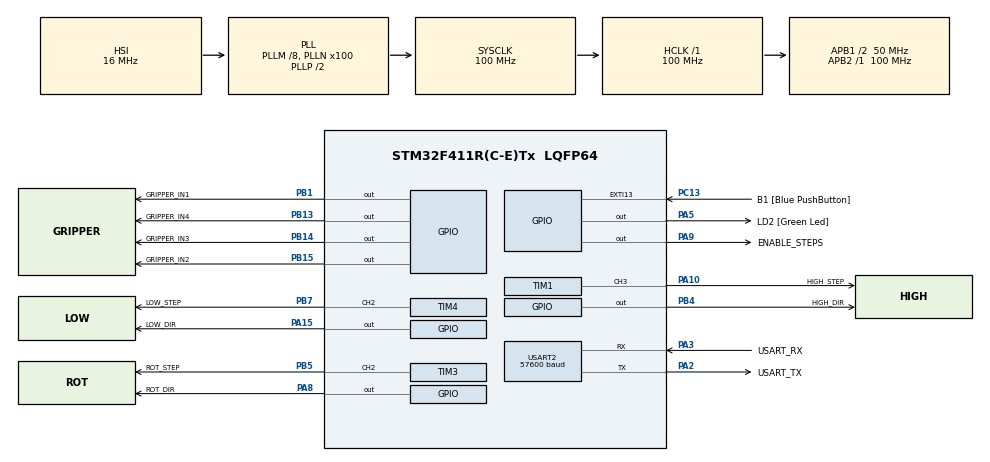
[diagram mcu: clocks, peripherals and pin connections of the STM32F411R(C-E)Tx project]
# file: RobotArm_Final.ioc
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Mcu.Family=STM32F4
Mcu.Name=STM32F411R(C-E)Tx
Mcu.Package=LQFP64
NVIC.EXTI15_10_IRQn=true\:0\:0\:false\:false\:true\:true\:true
NVIC.FLASH_IRQn=true\:0\:0\:false\:false\:true\:true\:true
NVIC.FPU_IRQn=true\:0\:0\:false\:false\:true\:true\:false
NVIC.PriorityGroup=NVIC_PRIORITYGROUP_0
NVIC.RCC_IRQn=true\:0\:0\:false\:false\:true\:true\:false
NVIC.TIM1_BRK_TIM9_IRQn=true\:0\:0\:false\:false\:true\:true\:true
NVIC.TIM1_CC_IRQn=true\:0\:0\:false\:false\:true\:true\:true
NVIC.TIM1_TRG_COM_TIM11_IRQn=true\:0\:0\:false\:false\:true\:true\:true
NVIC.TIM1_UP_TIM10_IRQn=true\:0\:0\:false\:false\:true\:true\:true
NVIC.TIM3_IRQn=true\:0\:0\:false\:false\:true\:true\:true
NVIC.TIM4_IRQn=true\:0\:0\:false\:false\:true\:true\:true
NVIC.USART2_IRQn=true\:0\:0\:false\:false\:true\:true\:true
PA10.GPIO_Label=HIGH_STEP
PA10.Signal=S_TIM1_CH3
PA13.GPIO_Label=TMS
PA13.Mode=Serial_Wire
PA13.Signal=SYS_JTMS-SWDIO
PA14.GPIO_Label=TCK
PA14.Mode=Serial_Wire
PA14.Signal=SYS_JTCK-SWCLK
PA15.GPIO_Label=LOW_DIR
PA15.Signal=GPIO_Output
PA2.GPIO_Label=USART_TX
PA2.Mode=Asynchronous
PA2.Signal=USART2_TX
PA3.GPIO_Label=USART_RX
PA3.Mode=Asynchronous
PA3.Signal=USART2_RX
PA5.GPIO_Label=LD2 [Green Led]
PA5.Signal=GPIO_Output
PA8.GPIO_Label=ROT_DIR
PA8.Signal=GPIO_Output
PA9.GPIO_Label=ENABLE_STEPS
PA9.PinState=GPIO_PIN_SET
PA9.Signal=GPIO_Output
PB1.GPIO_Label=GRIPPER_IN1
PB1.Signal=GPIO_Output
PB13.GPIO_Label=GRIPPER_IN4
PB13.Signal=GPIO_Output
PB14.GPIO_Label=GRIPPER_IN3
PB14.Signal=GPIO_Output
PB15.GPIO_Label=GRIPPER_IN2
PB15.Signal=GPIO_Output
PB3.GPIO_Label=SWO
PB3.Signal=SYS_JTDO-SWO
PB4.GPIO_Label=HIGH_DIR
PB4.Signal=GPIO_Output
PB5.GPIO_Label=ROT_STEP
PB5.Signal=S_TIM3_CH2
PB7.GPIO_Label=LOW_STEP
PB7.Signal=S_TIM4_CH2
PC13-ANTI_TAMP.GPIO_Label=B1 [Blue PushButton]
PC13-ANTI_TAMP.GPIO_ModeDefaultEXTI=GPIO_MODE_IT_FALLING
PC13-ANTI_TAMP.Signal=GPXTI13
PC14-OSC32_IN.Mode=LSE-External-Oscillator
PC14-OSC32_IN.Signal=RCC_OSC32_IN
PC15-OSC32_OUT.Mode=LSE-External-Oscillator
PC15-OSC32_OUT.Signal=RCC_OSC32_OUT
PH0\ -\ OSC_IN.Mode=HSE-External-Clock-Source
PH0\ -\ OSC_IN.Signal=RCC_OSC_IN
PH1\ -\ OSC_OUT.Mode=HSE-External-Clock-Source
PH1\ -\ OSC_OUT.Signal=RCC_OSC_OUT
ProjectManager.HeapSize=0x200
ProjectManager.StackSize=0x400
ProjectManager.TargetToolchain=STM32CubeIDE
RCC.48MHZClocksFreq_Value=50000000
RCC.AHBFreq_Value=100000000
RCC.APB1CLKDivider=RCC_HCLK_DIV2
RCC.APB1Freq_Value=50000000
RCC.APB1TimFreq_Value=100000000
RCC.APB2Freq_Value=100000000
RCC.APB2TimFreq_Value=100000000
RCC.CortexFreq_Value=100000000
RCC.FLatency-AdvancedSettings=FLASH_LATENCY_3
RCC.HCLKFreq_Value=100000000
RCC.HSE_VALUE=8000000
RCC.HSI_VALUE=16000000
RCC.PLLM=8
RCC.PLLN=100
RCC.SYSCLKFreq_VALUE=100000000
RCC.SYSCLKSource=RCC_SYSCLKSOURCE_PLLCLK
RCC.VCOOutputFreq_Value=200000000
SH.S_TIM1_CH3.0=TIM1_CH3,PWM Generation3 CH3
SH.S_TIM3_CH2.0=TIM3_CH2,PWM Generation2 CH2
SH.S_TIM4_CH2.0=TIM4_CH2,PWM Generation2 CH2
TIM1.Channel-PWM\ Generation3\ CH3=TIM_CHANNEL_3
TIM1.Period=100-1
TIM1.Prescaler=100-1
TIM1.Pulse-PWM\ Generation3\ CH3=100/2-1
TIM10.AutoReloadPreload=TIM_AUTORELOAD_PRELOAD_DISABLE
TIM10.Period=200-1
TIM10.Prescaler=1000-1
TIM3.Channel-PWM\ Generation2\ CH2=TIM_CHANNEL_2
TIM3.Period=100-1
TIM3.Prescaler=100-1
TIM3.Pulse-PWM\ Generation2\ CH2=100/2-1
TIM4.Channel-PWM\ Generation2\ CH2=TIM_CHANNEL_2
TIM4.Period=100-1
TIM4.Prescaler=100-1
TIM4.Pulse-PWM\ Generation2\ CH2=100/2-1
USART2.BaudRate=57600
USART2.StopBits=STOPBITS_1
USART2.VirtualMode=VM_ASYNC
VP_TIM10_VS_ClockSourceINT.Mode=Enable_Timer
VP_TIM1_VS_ClockSourceINT.Mode=Internal
VP_TIM3_VS_ClockSourceINT.Mode=Internal
VP_TIM4_VS_ClockSourceINT.Mode=Internal
board=NUCLEO-F411RE

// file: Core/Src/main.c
/* USER CODE BEGIN Header */
/**
  ******************************************************************************
  * @file           : main.c
  * @brief          : Main program body
  ******************************************************************************
  * @attention
  *
  * <h2><center>&copy; Copyright (c) 2021 STMicroelectronics.
  * All rights reserved.</center></h2>
  *
  * This software component is licensed by ST under BSD 3-Clause license,
  * the "License"; You may not use this file except in compliance with the
  * License. You may obtain a copy of the License at:
  *                        opensource.org/licenses/BSD-3-Clause
  *
  ******************************************************************************
  */
/* USER CODE END Header */
#include "main.h"
#include "tim.h"
#include "usart.h"
#include "gpio.h"

/* USER CODE BEGIN Includes */
#include "robotArm.h"
#include "string.h"
#include "stdio.h"
/* USER CODE END Includes */

/* USER CODE BEGIN PD */

#define HIGH_STEP_HTIM htim1
#define LOW_STEP_HTIM htim4
#define ROT_STEP_HTIM htim3
#define GRIPPER_HTIM htim10
#define HIGH_STEP_TIM_CHANNEL TIM_CHANNEL_3
#define LOW_STEP_TIM_CHANNEL TIM_CHANNEL_2
#define ROT_STEP_TIM_CHANNEL TIM_CHANNEL_2

/* USER CODE END PD */

/* USER CODE BEGIN PV */
struct robotArm_s robotArm;
uint8_t ReceiveBuffer[20];
uint8_t RxEventFlag=0;

/* USER CODE END PV */

void SystemClock_Config(void);
/* USER CODE BEGIN PFP */
void Command_OK(void);
void Command_Error(void);
void Command_ClearBuffer(void);
void Command_InitRobot(void);
void Command_Control_Program(void);
void RobotArm_UART_loop(void);
void RobotArm_Control_Program(void);
/* USER CODE END PFP */

int main(void)
{

  /* MCU Configuration--------------------------------------------------------*/

  /* Reset of all peripherals, Initializes the Flash interface and the Systick. */
  HAL_Init();

  /* Configure the system clock */
  SystemClock_Config();

  /* Initialize all configured peripherals */
  MX_GPIO_Init();
  MX_USART2_UART_Init();
  MX_TIM1_Init();
  MX_TIM3_Init();
  MX_TIM4_Init();
  MX_TIM10_Init();
  /* USER CODE BEGIN 2 */
  Command_InitRobot();
  /* USER CODE END 2 */

  /* Infinite loop */
  while (1)
  {

    /* USER CODE BEGIN 3 */
	 RobotArm_UART_loop();

  }
  /* USER CODE END 3 */
}

void SystemClock_Config(void)
{
  RCC_OscInitTypeDef RCC_OscInitStruct = {0};
  RCC_ClkInitTypeDef RCC_ClkInitStruct = {0};

  /** Configure the main internal regulator output voltage
  */
  __HAL_RCC_PWR_CLK_ENABLE();
  __HAL_PWR_VOLTAGESCALING_CONFIG(PWR_REGULATOR_VOLTAGE_SCALE1);
  /** Initializes the RCC Oscillators according to the specified parameters
  * in the RCC_OscInitTypeDef structure.
  */
  RCC_OscInitStruct.OscillatorType = RCC_OSCILLATORTYPE_HSI;
  RCC_OscInitStruct.HSIState = RCC_HSI_ON;
  RCC_OscInitStruct.HSICalibrationValue = RCC_HSICALIBRATION_DEFAULT;
  RCC_OscInitStruct.PLL.PLLState = RCC_PLL_ON;
  RCC_OscInitStruct.PLL.PLLSource = RCC_PLLSOURCE_HSI;
  RCC_OscInitStruct.PLL.PLLM = 8;
  RCC_OscInitStruct.PLL.PLLN = 100;
  RCC_OscInitStruct.PLL.PLLP = RCC_PLLP_DIV2;
  RCC_OscInitStruct.PLL.PLLQ = 4;
  if (HAL_RCC_OscConfig(&RCC_OscInitStruct) != HAL_OK)
  {
    Error_Handler();
  }
  /** Initializes the CPU, AHB and APB buses clocks
  */
  RCC_ClkInitStruct.ClockType = RCC_CLOCKTYPE_HCLK|RCC_CLOCKTYPE_SYSCLK
                              |RCC_CLOCKTYPE_PCLK1|RCC_CLOCKTYPE_PCLK2;
  RCC_ClkInitStruct.SYSCLKSource = RCC_SYSCLKSOURCE_PLLCLK;
  RCC_ClkInitStruct.AHBCLKDivider = RCC_SYSCLK_DIV1;
  RCC_ClkInitStruct.APB1CLKDivider = RCC_HCLK_DIV2;
  RCC_ClkInitStruct.APB2CLKDivider = RCC_HCLK_DIV1;

  if (HAL_RCC_ClockConfig(&RCC_ClkInitStruct, FLASH_LATENCY_3) != HAL_OK)
  {
    Error_Handler();
  }
}

/* USER CODE BEGIN 4 */

/*
 * Obsługa przerwania od licznika taktującego silnik chwytaka
 * Zmienia takty na zasadzie maszyny stanów
 * Inkrementuje licznik kroków
 * Jeżeli licznik kroków obliczy wszystkie kroki do wykonania, to wyłączy chwytak
 */
void HAL_TIM_PeriodElapsedCallback(TIM_HandleTypeDef *htim){
	if(htim->Instance==robotArm.gripper_Stepper.timer.htim->Instance){
		//Full step drive gripper
		switch (robotArm.gripper_Stepper.tick) {
			case 0:
				HAL_GPIO_WritePin(GRIPPER_IN1_GPIO_Port, GRIPPER_IN1_Pin, SET);
				HAL_GPIO_WritePin(GRIPPER_IN2_GPIO_Port, GRIPPER_IN2_Pin, SET);
				HAL_GPIO_WritePin(GRIPPER_IN3_GPIO_Port, GRIPPER_IN3_Pin, RESET);
				HAL_GPIO_WritePin(GRIPPER_IN4_GPIO_Port, GRIPPER_IN4_Pin, RESET);

				robotArm.gripper_Stepper.step_counter++;
				if(robotArm.gripper_Stepper.step_counter >= robotArm.gripper_Stepper.steps_to_count)
				{
					gripper_stop(&robotArm.gripper_Stepper);
				}

				if(robotArm.gripper_Stepper.state==open)robotArm.gripper_Stepper.tick++;
				else robotArm.gripper_Stepper.tick=3;
				break;
			case 1:
				HAL_GPIO_WritePin(GRIPPER_IN1_GPIO_Port, GRIPPER_IN1_Pin, RESET);
				HAL_GPIO_WritePin(GRIPPER_IN2_GPIO_Port, GRIPPER_IN2_Pin, SET);
				HAL_GPIO_WritePin(GRIPPER_IN3_GPIO_Port, GRIPPER_IN3_Pin, SET);
				HAL_GPIO_WritePin(GRIPPER_IN4_GPIO_Port, GRIPPER_IN4_Pin, RESET);

				robotArm.gripper_Stepper.step_counter++;
				if(robotArm.gripper_Stepper.step_counter >= robotArm.gripper_Stepper.steps_to_count)
				{
					gripper_stop(&robotArm.gripper_Stepper);
				}

				if(robotArm.gripper_Stepper.state==open)robotArm.gripper_Stepper.tick++;
				else robotArm.gripper_Stepper.tick--;
				break;
			case 2:
				HAL_GPIO_WritePin(GRIPPER_IN1_GPIO_Port, GRIPPER_IN1_Pin, RESET);
				HAL_GPIO_WritePin(GRIPPER_IN2_GPIO_Port, GRIPPER_IN2_Pin, RESET);
				HAL_GPIO_WritePin(GRIPPER_IN3_GPIO_Port, GRIPPER_IN3_Pin, SET);
				HAL_GPIO_WritePin(GRIPPER_IN4_GPIO_Port, GRIPPER_IN4_Pin, SET);

				robotArm.gripper_Stepper.step_counter++;
				if(robotArm.gripper_Stepper.step_counter >= robotArm.gripper_Stepper.steps_to_count)
				{
					gripper_stop(&robotArm.gripper_Stepper);
				}

				if(robotArm.gripper_Stepper.state==open)robotArm.gripper_Stepper.tick++;
				else robotArm.gripper_Stepper.tick--;
				break;
			case 3:
				HAL_GPIO_WritePin(GRIPPER_IN1_GPIO_Port, GRIPPER_IN1_Pin, SET);
				HAL_GPIO_WritePin(GRIPPER_IN2_GPIO_Port, GRIPPER_IN2_Pin, RESET);
				HAL_GPIO_WritePin(GRIPPER_IN3_GPIO_Port, GRIPPER_IN3_Pin, RESET);
				HAL_GPIO_WritePin(GRIPPER_IN4_GPIO_Port, GRIPPER_IN4_Pin, SET);

				robotArm.gripper_Stepper.step_counter++;
				if(robotArm.gripper_Stepper.step_counter >= robotArm.gripper_Stepper.steps_to_count)
				{
					gripper_stop(&robotArm.gripper_Stepper);
				}

				if(robotArm.gripper_Stepper.state==open)robotArm.gripper_Stepper.tick=0;
				else robotArm.gripper_Stepper.tick--;
				break;
		}
	}
}

/*
 * Obsługa przerwania od zakończenia impulsu PWM:
 * Sprawdza z którego timera doszło przerwanie
 * Inkrementuje licznik kroków
 * Jeżeli licznik kroków obliczy wszystkie kroki do wykonania, to wylaczy silnik
 *
 */
void HAL_TIM_PWM_PulseFinishedCallback(TIM_HandleTypeDef *htim)
{
	if(htim->Instance == robotArm.high_Stepper.timer.htim->Instance)
	{
		robotArm.high_Stepper.step_counter++;

		if(robotArm.high_Stepper.step_counter >= robotArm.high_Stepper.steps_to_count)
		{
			stepper_stop(&robotArm.high_Stepper);
		}
	}
	if(htim->Instance == robotArm.low_Stepper.timer.htim->Instance)
	{
		robotArm.low_Stepper.step_counter++;

		if(robotArm.low_Stepper.step_counter >= robotArm.low_Stepper.steps_to_count)
		{
			stepper_stop(&robotArm.low_Stepper);
		}
	}
	if(htim->Instance == robotArm.rot_Stepper.timer.htim->Instance)
	{
		robotArm.rot_Stepper.step_counter++;

		if(robotArm.rot_Stepper.step_counter >= robotArm.rot_Stepper.steps_to_count)
		{
			stepper_stop(&robotArm.rot_Stepper);
		}
	}
}
/*
 * Obsługa przerwania od odbierania UART
 * * Wystawia flagę inforumującą o tym, że dane zostały odebrane i umieszczone w buforze odczytu
 */
void HAL_UARTEx_RxEventCallback(UART_HandleTypeDef *huart, uint16_t Size){
	if(huart->Instance == USART2){
		RxEventFlag=1;
	}
}

/*
 * Inicjalizacja robota:
 * Wyświetla informację o poprawnym połączeniu
 * Wysyła informację o konieczności inicjalizacji
 * Czeka, aż użytkownik ustawi ramiona robota w pozycje krańcowe wyślę komendę 'INIT'
 * Inicjalizuje robota zgodnie z pozycjami krańcowymi
 * Wyświetla informację o zakończeniu inicjalizacji
 */

void Command_InitRobot(void){
	HAL_UART_Transmit(&huart2, "\nConnected!\nMove robot to endstop position and send 'INIT'\n", strlen("\nConnected!\nMove robot to endstop position and send 'INIT'\n"), 100);
	HAL_UARTEx_ReceiveToIdle_IT(&huart2, ReceiveBuffer, 20);
	while(strcmp(ReceiveBuffer,"INIT")!=0);
	Command_ClearBuffer();
	robotArm_init(&robotArm);
	HAL_UART_Transmit(&huart2, "Robot init completed\n", strlen("Robot init completed\n"), 100);

}
/*
 * Obsługa nieprawidłowo wpisanej komendy:
 * Wyświetla menu z dostępnymi komendami
 * Czyści bufor odczytu
 */
void Command_Error(void){
	uint8_t errortext[]="\n\nAvaliable commands:\n\nHOME\t\t\t-SET HOME POSITION X:0 Y:120 Z:120\nX:__ Y:__ Z:__\t\t-Set position XYZ\nG O/C\t\t\t-Gripper Open/Close\nSTART\t\t\t-Start program\nSTOP\t\t\t-Stop program\n";
	HAL_UART_Transmit(&huart2, errortext, strlen(errortext), 100);
	Command_ClearBuffer();

}
/*
 * Czyszczenie bufora:
 * Wypełnienie wszystkich elementów bufora odczytu pustymi znakami '\0'
 * Wyzerowanie flagi odczytu po UART
 * Zlecenie odczytu UART w trybie przerwaniowym
 */
void Command_ClearBuffer(void){
	for ( uint8_t i = 0; i <= (20-1); ++i) {
		ReceiveBuffer[i]='\0';
	}
	RxEventFlag=0;
	HAL_UARTEx_ReceiveToIdle_IT(&huart2, ReceiveBuffer, 20);
}
/*
 * Wyświetlenie komunikatu o starcie programu użytkownika
 */
void Command_Control_Program(void){
	uint8_t text[]="\nStarted control program. To stop send 'STOP'";
	HAL_UART_Transmit(&huart2, text, strlen(text), 100);

}

/*
 * Główna pętla obsługi menu użytkownika
 * Oczekiwanie na flagę odczytu UART
 * Gdy flaga nadejdzie, obsługuje komendę
 * Gdy komenda jest nieprawidłowa wyświetla dostępne komendy
 */

void RobotArm_UART_loop(void){
	if(RxEventFlag){
			if(ReceiveBuffer[0]=='X'){
				float ReceiveX,ReceiveY,ReceiveZ;
				if(sscanf(ReceiveBuffer,"X:%f Y:%f Z:%f",&ReceiveX,&ReceiveY,&ReceiveZ)==3){
					Command_ClearBuffer();
					robotArm_moveToXYZ(&robotArm, ReceiveX, ReceiveY, ReceiveZ);
				}
				else Command_Error();
			}
			else if(ReceiveBuffer[0]=='G'){

				if(ReceiveBuffer[2]=='O'){
					Command_ClearBuffer();
					robotArm_Gripper(&robotArm, open);
				}
				else if (ReceiveBuffer[2]=='C'){
					Command_ClearBuffer();
					robotArm_Gripper(&robotArm, close);
				}
				else Command_Error();
			}
			else if(strcmp(ReceiveBuffer,"HOME")==0){
				Command_ClearBuffer();
				robotArm_moveToXYZ(&robotArm,X_HOME,Y_HOME,Z_HOME);
			}
			else if(strcmp(ReceiveBuffer,"START")==0){
				Command_Control_Program();
				Command_ClearBuffer();
				do {
					Command_ClearBuffer();
					RobotArm_Control_Program();
				} while (strcmp(ReceiveBuffer,"STOP")!=0);
				Command_ClearBuffer();
			}
			else Command_Error();
		  }
}
/*
 * Program sterujący robotem do zaimplementowania przez użytkownika
 */
void RobotArm_Control_Program(void){

	  robotArm_Gripper(&robotArm, open);
	  robotArm_moveToXYZ(&robotArm, 0, 120, -80);
	  robotArm_moveToXYZ(&robotArm, 0, 120, -110);
	  robotArm_Gripper(&robotArm, close);
	  robotArm_moveToXYZ(&robotArm, 120, 0, -80);
	  robotArm_moveToXYZ(&robotArm, 120, 0, -110);
	  robotArm_Gripper(&robotArm, open);

	  robotArm_moveToXYZ(&robotArm, 0, 120, 120);

	  robotArm_moveToXYZ(&robotArm, 120, 0, -80);
	  robotArm_moveToXYZ(&robotArm, 120, 0, -110);
	  robotArm_Gripper(&robotArm, close);
	  robotArm_moveToXYZ(&robotArm, 120, 0, 0);

	  robotArm_moveToXYZ(&robotArm, 0, 120, 0);
	  robotArm_moveToXYZ(&robotArm, 0, 120, -110);
	  robotArm_Gripper(&robotArm, open);
	  robotArm_moveToXYZ(&robotArm, 0, 120, 120);
}
/*
 * Obsługa błędu komunikacji UART:
 * Gdy wystąpi błąd w komunikacji UART, wysyła informację i programowo wykonuje reset procesora
 */
void HAL_UART_ErrorCallback(UART_HandleTypeDef *huart){
	HAL_UART_Transmit(&huart2, "\nUART error! Reset system...\n", strlen("\nUART error! Reset system...\n"), 100);
	HAL_NVIC_SystemReset();
}
/* USER CODE END 4 */

void Error_Handler(void)
{
  __disable_irq();
  while (1)
  {
  }
}

/************************ (C) COPYRIGHT STMicroelectronics *****END OF FILE****/
